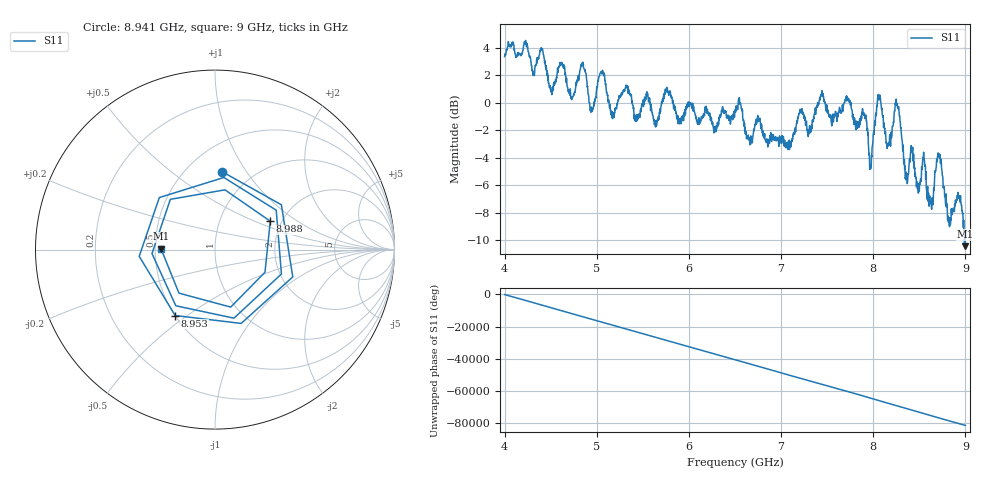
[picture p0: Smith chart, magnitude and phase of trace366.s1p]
! Created with skrf 1.8.0 (http://scikit-rf.org).
# Hz S RI R 50.0
!freq ReS11 ImS11
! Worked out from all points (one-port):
!   1601 points, 4 GHz to 9 GHz, reference 50 ohm
!   lowest |S11| = -10.4 dB at 9 GHz (marker M1), VSWR 1.86, Z = 26.9 + j0.317 ohm
!   |S11| at or under -10 dB: 8.990185 GHz to 8.992222 GHz (2.037 MHz wide, 0.0227 % of centre); 8.996778 GHz to end of sweep
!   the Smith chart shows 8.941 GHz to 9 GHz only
!   S11 on the Smith chart (normalised r, x): 8.941 GHz: 0.73, +0.78; 8.953 GHz: 0.50, -0.45; 8.988 GHz: 1.75, +0.63; 9 GHz: 0.54, +0.01
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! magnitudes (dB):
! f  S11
! 4 GHz  3.4
! 4.403 GHz  3.9
! 4.506 GHz  0.8
! 4.625 GHz  2.8
! 4.731 GHz  0.3
! 4.853 GHz  2.9
! 4.941 GHz  -0.3
! 5.056 GHz  2.1
! 5.162 GHz  -0.7
! 5.25 GHz  0.4
! 5.875 GHz  -1.2
! 6.5 GHz  -0.6
! 7.125 GHz  -2.7
! 7.75 GHz  0.1
! 7.903 GHz  -0.8
! 7.972 GHz  -4.8
! 8.059 GHz  0.5
! 8.162 GHz  -3.0
! 8.262 GHz  -0.3
! 8.375 GHz  -5.4
! 8.547 GHz  -3.6
! 8.628 GHz  -7.3
! 8.712 GHz  -3.9
! 8.819 GHz  -8.6
! 8.941 GHz  -7.2
! 8.953 GHz  -7.4
! 8.988 GHz  -9.2
! 9 GHz  -10.4
